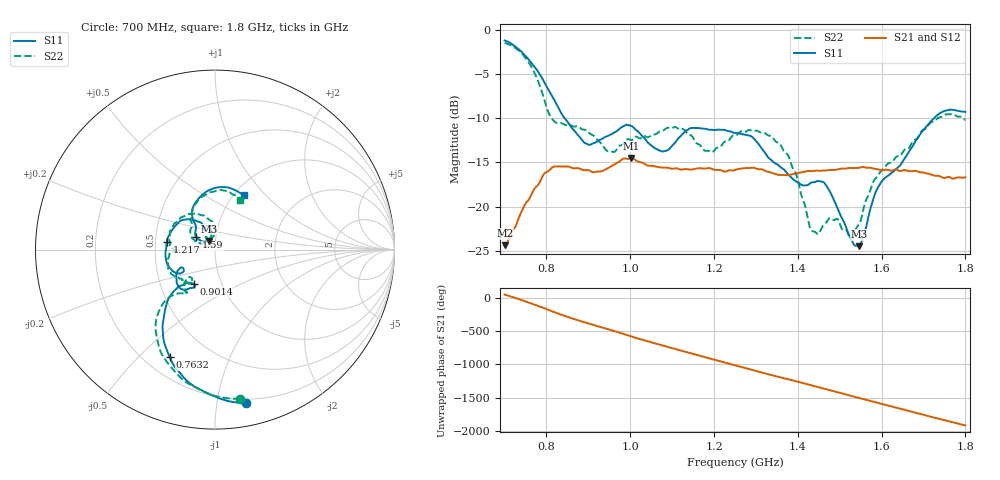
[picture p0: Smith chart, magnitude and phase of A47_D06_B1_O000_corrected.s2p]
! Created with skrf 1.9.0 (http://scikit-rf.org).
# Hz S RI R 50.0
!freq ReS11 ImS11 ReS21 ImS21 ReS12 ImS12 ReS22 ImS22
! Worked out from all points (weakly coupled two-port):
!   1601 points, 700 MHz to 1.8 GHz, reference 50 ohm
!   highest |S21| = -14.51 dB at 1.002 GHz (marker M1); lowest = -24.4 dB at 700.7 MHz (marker M2)
!   lowest |S11| = -24.5 dB at 1.546 GHz (marker M3), VSWR 1.13, Z = 46.4 + j4.54 ohm
!   |S11| at or under -10 dB: 843.3 MHz to 1.725 GHz (881.7 MHz wide, 68.7 % of centre)
!   |S22| runs from -23.7 to -1.5 dB; largest |S21 - S12| = 0.0034
!   S11 on the Smith chart (normalised r, x): 700 MHz: 0.17, -1.21; 763.2 MHz: 0.30, -0.62; 901.4 MHz: 0.74, -0.30; 1.217 GHz: 0.58, +0.05; 1.59 GHz: 0.80, +0.11; 1.8 GHz: 1.12, +0.76
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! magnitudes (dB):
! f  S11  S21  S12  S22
! 700 MHz  -1.2  -24.4  -24.2  -1.5
! 700.7 MHz  -1.2  -24.4  -24.1  -1.5
! 763.2 MHz  -3.7  -18.7  -18.7  -4.1
! 814.8 MHz  -7.6  -15.5  -15.6  -10.2
! 883.6 MHz  -12.4  -15.8  -15.7  -11.2
! 901.4 MHz  -13.0  -15.9  -15.9  -11.6
! 949.6 MHz  -11.9  -15.6  -15.6  -13.7
! 1.002 GHz  -10.9  -14.5  -14.6  -12.5
! 1.067 GHz  -13.6  -15.5  -15.5  -11.6
! 1.144 GHz  -11.1  -15.8  -15.8  -11.9
! 1.217 GHz  -11.3  -15.9  -15.9  -13.1
! 1.25 GHz  -11.7  -15.9  -15.8  -12.0
! 1.357 GHz  -15.5  -16.4  -16.4  -12.9
! 1.396 GHz  -17.1  -16.3  -16.2  -16.3
! 1.434 GHz  -17.3  -16.0  -16.0  -22.8
! 1.467 GHz  -17.5  -15.9  -15.9  -21.9
! 1.527 GHz  -23.6  -15.6  -15.6  -23.7
! 1.546 GHz  -24.5  -15.6  -15.6  -22.0
! 1.59 GHz  -18.0  -15.8  -15.8  -16.6
! 1.617 GHz  -16.4  -15.9  -15.8  -15.1
! 1.733 GHz  -9.7  -16.5  -16.5  -10.0
! 1.8 GHz  -9.3  -16.7  -16.7  -10.2
